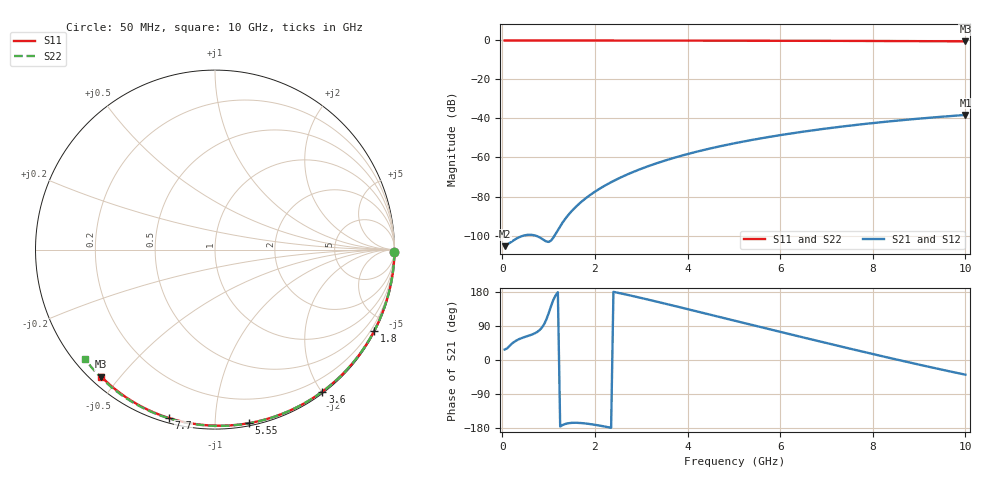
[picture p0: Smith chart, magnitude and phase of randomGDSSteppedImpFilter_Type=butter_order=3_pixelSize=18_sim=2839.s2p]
! freq	dB(S11)	phase(S11)	dB(S12)	phase(S12)
!  dB(S21)	phase(S21)	dB(S22)	phase(S22)
!S-par simulation data
#  GHz  S  DB  R 50
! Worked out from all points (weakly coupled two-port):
!   200 points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, 50 MHz to 10 GHz, reference 50 ohm
!   highest |S21| = -38.17 dB at 10 GHz (marker M1); lowest = -105.5 dB at 50 MHz (marker M2)
!   lowest |S11| = -0.4 dB at 10 GHz (marker M3), VSWR 38.81, Z = 1.55 - j22.3 ohm
!   |S11| at or under -10 dB: nowhere
!   |S22| runs from -0.5 to 0.0 dB; largest |S21 - S12| = 0
!   S11 on the Smith chart (normalised r, x): 50 MHz: open; 1.8 GHz: 0.04, -4.16; 3.6 GHz: 0.02, -2.01; 5.55 GHz: 0.02, -1.21; 7.7 GHz: 0.02, -0.76; 10 GHz: 0.03, -0.45
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0.05  -0.00 -0.8  -105.46 27.6  -105.46 27.6  -0.00 -0.8
0.45  -0.01 -6.9  -100.11 59.3  -100.11 59.3  -0.01 -7.3
0.9  -0.02 -13.6  -102.36 93.7  -102.36 93.7  -0.02 -14.5
1.75  -0.03 -26.3  -81.88 -166.9  -81.88 -166.9  -0.04 -27.9
1.8  -0.03 -27.0  -80.93 -167.5  -80.93 -167.5  -0.04 -28.7
1.85  -0.04 -27.8  -80.03 -168.3  -80.03 -168.3  -0.04 -29.5
2.15  -0.04 -32.2  -75.31 -174.1  -75.31 -174.1  -0.04 -34.1
2.35  -0.04 -35.1  -72.66 -178.9  -72.66 -178.9  -0.05 -37.2
2.55  -0.05 -38.0  -70.30 176.0  -70.30 176.0  -0.05 -40.3
2.95  -0.06 -43.7  -66.24 165.1  -66.24 165.1  -0.06 -46.3
3.4  -0.07 -50.1  -62.43 152.1  -62.43 152.1  -0.07 -53.1
3.6  -0.07 -52.9  -60.94 146.2  -60.94 146.2  -0.08 -56.0
3.9  -0.08 -57.0  -58.88 137.3  -58.88 137.3  -0.08 -60.4
4.3  -0.09 -62.5  -56.44 125.3  -56.44 125.3  -0.09 -66.2
5.05  -0.11 -72.4  -52.54 102.7  -52.54 102.7  -0.12 -76.7
5.55  -0.13 -78.9  -50.33 87.7  -50.33 87.7  -0.14 -83.6
6.1  -0.15 -85.9  -48.17 71.3  -48.17 71.3  -0.16 -90.9
6.7  -0.18 -93.4  -46.09 53.6  -46.09 53.6  -0.19 -98.8
7.7  -0.24 -105.4  -43.13 24.4  -43.13 24.4  -0.26 -111.6
8.35  -0.29 -113.0  -41.51 5.8  -41.51 5.8  -0.31 -119.7
9.2  -0.36 -122.8  -39.67 -17.7  -39.67 -17.7  -0.39 -130.1
10  -0.45 -131.9  -38.17 -38.7  -38.17 -38.7  -0.48 -139.9
